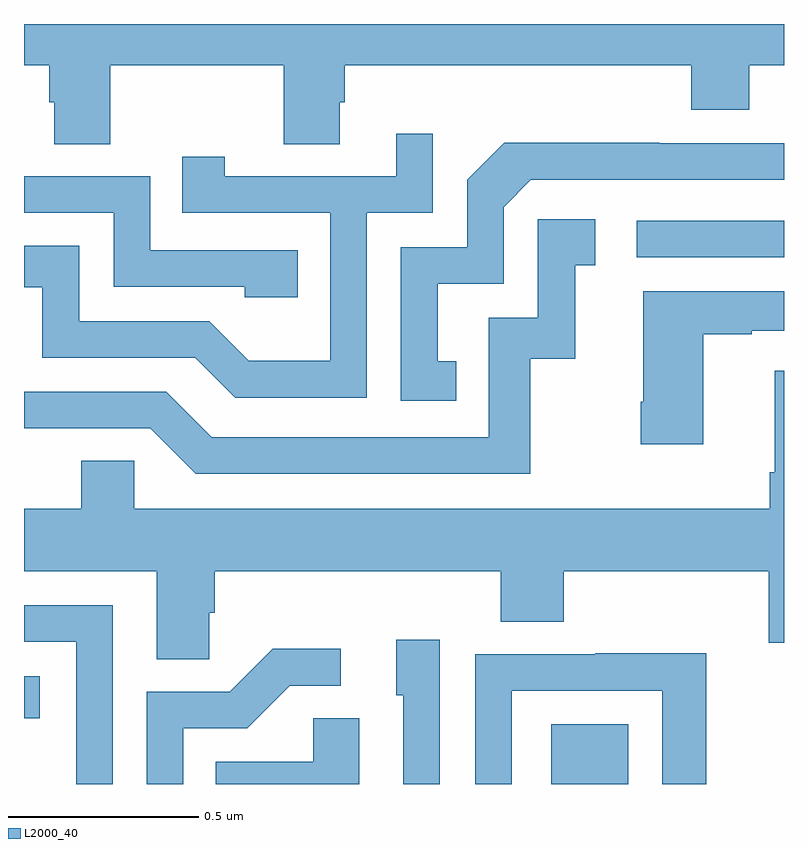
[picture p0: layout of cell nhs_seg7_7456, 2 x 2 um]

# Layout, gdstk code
import gdstk
lib = gdstk.Library(unit=1e-6, precision=1e-09)
def R(c, l, rs):  # rectangles x0, y0, x1, y1
    for r in rs: c.add(gdstk.rectangle(r[:2], r[2:], *l))
def P(c, l, *ps):  # polygons
    for p in ps: c.add(gdstk.Polygon(p, *l))
L2000_40 = (2000, 40)

nhs_seg7_7456 = lib.new_cell('nhs_seg7_7456')
R(nhs_seg7_7456, L2000_40, [(212.387,1056,212.59,1056.157), (211,1056.173,211.042,1056.283), (212.613,1057.386,213,1057.482)])
P(nhs_seg7_7456, L2000_40, [(211.227,1057.892),(211.684,1057.892),(211.684,1057.684),(211.831,1057.684),(211.831,1057.794),(211.844,1057.794),(211.844,1057.892),(212.756,1057.892),(212.756,1057.775),(212.908,1057.775),(212.908,1057.892),(213,1057.892),(213,1058),(211,1058),(211,1057.892),(211.067,1057.892),(211.067,1057.794),(211.079,1057.794),(211.079,1057.684),(211.227,1057.684)],
  [(211.902,1057.503),(212.076,1057.503),(212.076,1057.711),(211.979,1057.711),(211.979,1057.599),(211.528,1057.599),(211.528,1057.651),(211.417,1057.651),(211.417,1057.503),(211.806,1057.503),(211.806,1057.114),(211.592,1057.114),(211.488,1057.218),(211.146,1057.218),(211.146,1057.417),(211,1057.417),(211,1057.307),(211.048,1057.307),(211.048,1057.122),(211.451,1057.122),(211.556,1057.017),(211.902,1057.017)],
  [(212.138,1057.113),(212.089,1057.113),(212.089,1057.317),(212.262,1057.317),(212.262,1057.518),(212.334,1057.59),(213,1057.59),(213,1057.686),(212.672,1057.686),(212.672,1057.688),(212.264,1057.688),(212.166,1057.59),(212.166,1057.413),(211.992,1057.413),(211.992,1057.008),(212.138,1057.008)],
  [(211.721,1057.404),(211.332,1057.404),(211.332,1057.599),(211,1057.599),(211,1057.503),(211.236,1057.503),(211.236,1057.308),(211.581,1057.308),(211.581,1057.281),(211.721,1057.281)],
  [(212.332,1057.119),(212.45,1057.119),(212.45,1057.365),(212.503,1057.365),(212.503,1057.486),(212.352,1057.486),(212.352,1057.227),(212.223,1057.227),(212.223,1056.912),(211.494,1056.912),(211.374,1057.032),(211,1057.032),(211,1056.936),(211.332,1056.936),(211.452,1056.816),(212.332,1056.816)],
  [(212.788,1057.183),(212.915,1057.183),(212.915,1057.193),(213,1057.193),(213,1057.297),(212.63,1057.297),(212.63,1057.006),(212.623,1057.006),(212.623,1056.894),(212.788,1056.894)],
  [(211.488,1056.451),(211.502,1056.451),(211.502,1056.56),(212.255,1056.56),(212.255,1056.427),(212.42,1056.427),(212.42,1056.56),(212.96,1056.56),(212.96,1056.372),(213,1056.372),(213,1057.087),(212.975,1057.087),(212.975,1056.82),(212.963,1056.82),(212.963,1056.724),(211.29,1056.724),(211.29,1056.851),(211.151,1056.851),(211.151,1056.724),(211,1056.724),(211,1056.56),(211.349,1056.56),(211.349,1056.328),(211.488,1056.328)],
  [(211.233,1056.471),(211,1056.471),(211,1056.375),(211.137,1056.375),(211.137,1056),(211.233,1056)],
  [(212.094,1056.379),(211.979,1056.379),(211.979,1056.234),(211.998,1056.234),(211.998,1056),(212.094,1056)],
  [(211.419,1056.147),(211.588,1056.147),(211.699,1056.258),(211.834,1056.258),(211.834,1056.356),(211.655,1056.356),(211.542,1056.243),(211.323,1056.243),(211.323,1056),(211.419,1056)],
  [(212.283,1056.246),(212.679,1056.246),(212.679,1056),(212.795,1056),(212.795,1056.344),(212.503,1056.344),(212.503,1056.342),(212.187,1056.342),(212.187,1056),(212.283,1056)],
  [(211.882,1056.173),(211.761,1056.173),(211.761,1056.058),(211.504,1056.058),(211.504,1056),(211.882,1056)])

lib.write_gds('nhs_seg7_7456.gds')
